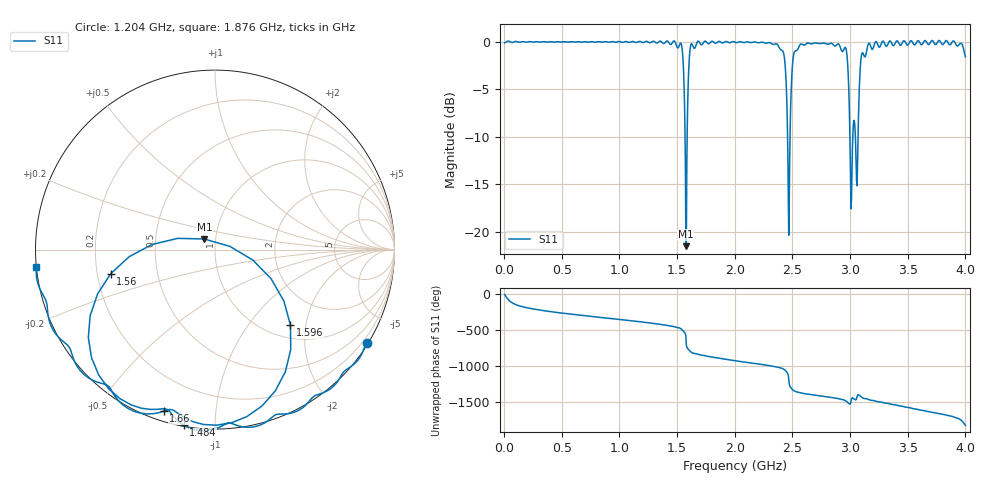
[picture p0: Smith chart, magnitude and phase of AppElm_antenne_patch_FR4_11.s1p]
! TOUCHSTONE file generated by CST MICROWAVE STUDIO
! Date and time: Tue Jun 14 14:31:21 2022
! Project name: AppElm_antenne_patch_FR4.cst
! Parameters = {L=45; W=58.5; e=0.035; h=1.6; lambda=0.190476; ls=150; w0=2.54; w1=0.847; ws=120; y0=18; y1=23.8}
! Header version: 2018
! Port assignment regex: !\s*Touchstone port\s*([0-9]+)\s*=\s*(CST MWS port|CST DS port)\s*([0-9]+|Zmin|Zmax)\s*\(\"(.*)\"\)(\s*mode\s*([0-9]+))?.*
! Touchstone port assignment:
! Touchstone port 1 = CST MWS port 1 ("")
# GHz S MA R 50
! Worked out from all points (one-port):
!   1000 points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, 4 MHz to 4 GHz, reference 50 ohm
!   lowest |S11| = -21.5 dB at 1.576 GHz (marker M1), VSWR 1.18, Z = 44.1 + j5.25 ohm
!   |S11| at or under -10 dB: 2.458 GHz to 2.479 GHz (21.45 MHz wide, 0.869 % of centre); 2.998 GHz to 3.024 GHz (25.22 MHz wide, 0.838 % of centre); 3.046 GHz to 3.069 GHz (23.46 MHz wide, 0.767 % of centre)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
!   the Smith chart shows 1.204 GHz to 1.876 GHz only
!   S11 on the Smith chart (normalised r, x): 1.204 GHz: 0.06, -3.54; 1.484 GHz: 0.01, -0.84; 1.56 GHz: 0.26, -0.11; 1.596 GHz: 1.26, -1.64; 1.66 GHz: 0.04, -0.73; 1.876 GHz: 0.00, -0.05
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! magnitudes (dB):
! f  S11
! 4 MHz  -0.1
! 504 MHz  0.0
! 1.004 GHz  0.0
! 1.204 GHz  -0.1
! 1.484 GHz  -0.1
! 1.504 GHz  -0.6
! 1.54 GHz  -0.4
! 1.56 GHz  -4.5
! 1.576 GHz  -21.5
! 1.596 GHz  -4.5
! 1.616 GHz  -0.5
! 1.66 GHz  -0.5
! 1.876 GHz  0.0
! 2.004 GHz  0.0
! 2.408 GHz  -0.9
! 2.432 GHz  -1.8
! 2.468 GHz  -20.4
! 2.484 GHz  -7.2
! 2.504 GHz  -2.0
! 2.576 GHz  -0.2
! 2.952 GHz  -0.6
! 2.976 GHz  -1.8
! 3.004 GHz  -14.6
! 3.06 GHz  -15.2
! 3.092 GHz  -2.1
! 3.112 GHz  -1.2
! 3.504 GHz  -0.3
! 4 GHz  -1.6
